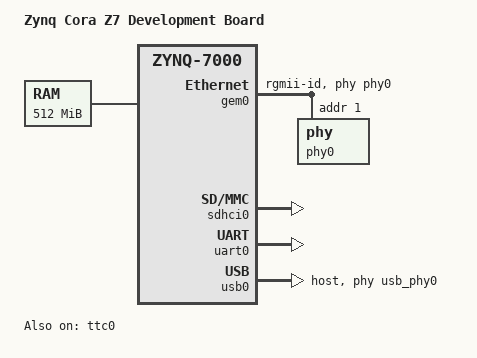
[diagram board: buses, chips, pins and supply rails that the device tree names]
/ {
	model = "Zynq Cora Z7 Development Board";
	compatible = "digilent,zynq-coraz7", "xlnx,zynq-7000";

	aliases {
		ethernet0 = &gem0;
		serial0 = &uart0;
		mmc0 = &sdhci0;
	};

	memory@0 {
		device_type = "memory";
		reg = <0x0 0x20000000>;
	};

	chosen {
		bootargs = "console=ttyPS0,115200 root=/dev/mmcblk0p2 rw earlyprintk rootfstype=ext4 rootwait";
		/*bootargs = "console=ttyPS0,115200 earlyprintk";*/
		stdout-path = "serial0:115200n8";
	};

	usb_phy0: phy0@e0002000 {
		compatible = "ulpi-phy";
		#phy-cells = <0>;
		reg = <0xe0002000 0x1000>;
		view-port = <0x0170>;
		drv-vbus;
	};

    /*  TODO:  Not sure this is applicable...
	fpga_axi: fpga-axi@0 {
		compatible = "simple-bus";
		#address-cells = <0x1>;
		#size-cells = <0x1>;
		ranges;
	};
    */
};

/*  TODO: find out what this does...
/delete-node/ &cpu1;
*/

&ttc0 {
	status = "okay";
};

&gem0 {
    local-mac-address = [00 18 3e 03 39 04];
	status = "okay";
	phy-mode = "rgmii-id";
	phy-handle = <&phy0>;

    phy0: phy@0 {
        /*compatible = "realtek,RTL8211E"; */
        device_type = "ethernet-phy";
        reg = <1>;
    };
};

&sdhci0 {
	u-boot,dm-pre-reloc;
	status = "okay";
};

&uart0 {
	u-boot,dm-pre-reloc;
	status = "okay";
};

&usb0 {
	status = "okay";
	dr_mode = "host";
	usb-phy = <&usb_phy0>;
};
